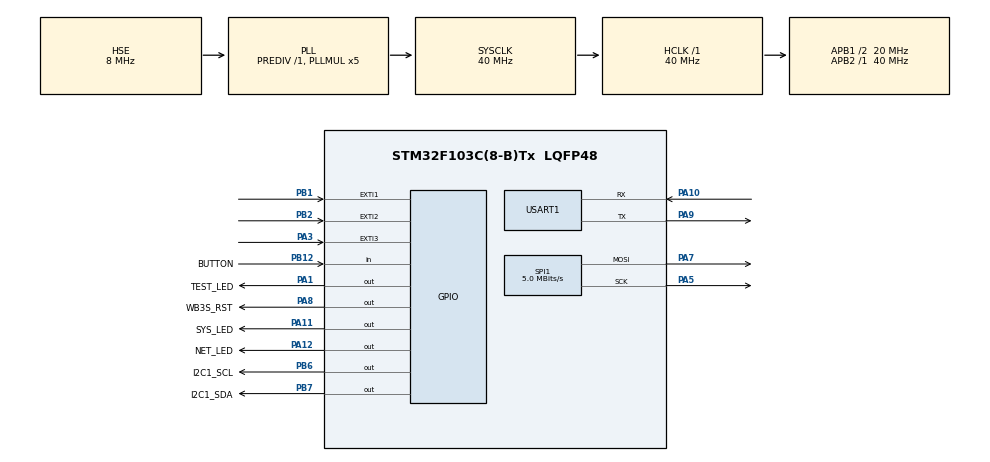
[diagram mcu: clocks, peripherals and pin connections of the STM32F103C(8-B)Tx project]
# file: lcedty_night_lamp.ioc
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Dma.Request0=SPI1_TX
Dma.SPI1_TX.0.Direction=DMA_MEMORY_TO_PERIPH
Dma.SPI1_TX.0.Instance=DMA1_Channel3
Dma.SPI1_TX.0.MemDataAlignment=DMA_MDATAALIGN_BYTE
Dma.SPI1_TX.0.MemInc=DMA_MINC_ENABLE
Dma.SPI1_TX.0.Mode=DMA_NORMAL
Dma.SPI1_TX.0.PeriphDataAlignment=DMA_PDATAALIGN_BYTE
Dma.SPI1_TX.0.PeriphInc=DMA_PINC_DISABLE
Dma.SPI1_TX.0.Priority=DMA_PRIORITY_LOW
FREERTOS.BinarySemaphores01=SHAKE,Dynamic,NULL
FREERTOS.Tasks01=defaultTask,0,128,StartDefaultTask,Default,NULL,Dynamic,NULL,NULL;WB3S,-3,128,StartTask_WB3S,Default,NULL,Dynamic,NULL,NULL;TH_Sensor,0,128,StartTask_TH_Sensor,Default,NULL,Dynamic,NULL,NULL;Key,0,128,StartTask_Key,Default,NULL,Dynamic,NULL,NULL;SHAKE_PROCESS,0,64,StartTask_SHAKE_PROCESS,Default,NULL,Dynamic,NULL,NULL
FREERTOS.configMINIMAL_STACK_SIZE=64
Mcu.Family=STM32F1
Mcu.Name=STM32F103C(8-B)Tx
Mcu.Package=LQFP48
NVIC.DMA1_Channel3_IRQn=true\:5\:0\:false\:false\:true\:true\:false\:true
NVIC.EXTI3_IRQn=true\:5\:0\:false\:false\:true\:true\:true\:true
NVIC.PriorityGroup=NVIC_PRIORITYGROUP_4
NVIC.TIM1_UP_IRQn=true\:0\:0\:false\:false\:true\:false\:false\:true
NVIC.TimeBase=TIM1_UP_IRQn
NVIC.TimeBaseIP=TIM1
NVIC.USART1_IRQn=true\:5\:0\:false\:false\:true\:true\:true\:true
PA1.GPIO_Label=TEST_LED
PA1.PinState=GPIO_PIN_SET
PA1.Signal=GPIO_Output
PA10.Mode=Asynchronous
PA10.Signal=USART1_RX
PA11.GPIO_Label=SYS_LED
PA11.PinState=GPIO_PIN_SET
PA11.Signal=GPIO_Output
PA12.GPIO_Label=NET_LED
PA12.PinState=GPIO_PIN_SET
PA12.Signal=GPIO_Output
PA13.Mode=Serial_Wire
PA13.Signal=SYS_JTMS-SWDIO
PA14.Mode=Serial_Wire
PA14.Signal=SYS_JTCK-SWCLK
PA3.Signal=GPXTI3
PA5.Mode=TX_Only_Simplex_Unidirect_Master
PA5.Signal=SPI1_SCK
PA7.Mode=TX_Only_Simplex_Unidirect_Master
PA7.Signal=SPI1_MOSI
PA8.GPIO_Label=WB3S_RST
PA8.Signal=GPIO_Output
PA9.Mode=Asynchronous
PA9.Signal=USART1_TX
PB1.Signal=GPXTI1
PB12.GPIO_Label=BUTTON
PB12.GPIO_PuPd=GPIO_PULLUP
PB12.Signal=GPIO_Input
PB2.Signal=GPXTI2
PB6.GPIO_Label=I2C1_SCL
PB6.Signal=GPIO_Output
PB7.GPIO_Label=I2C1_SDA
PB7.Signal=GPIO_Output
PD0-OSC_IN.Mode=HSE-External-Oscillator
PD0-OSC_IN.Signal=RCC_OSC_IN
PD1-OSC_OUT.Mode=HSE-External-Oscillator
PD1-OSC_OUT.Signal=RCC_OSC_OUT
ProjectManager.HeapSize=0x200
ProjectManager.StackSize=0x400
ProjectManager.TargetToolchain=MDK-ARM V5
RCC.AHBFreq_Value=40000000
RCC.APB1CLKDivider=RCC_HCLK_DIV2
RCC.APB1Freq_Value=20000000
RCC.APB1TimFreq_Value=40000000
RCC.APB2Freq_Value=40000000
RCC.APB2TimFreq_Value=40000000
RCC.HCLKFreq_Value=40000000
RCC.PLLMUL=RCC_PLL_MUL5
RCC.PLLSourceVirtual=RCC_PLLSOURCE_HSE
RCC.SYSCLKFreq_VALUE=40000000
RCC.SYSCLKSource=RCC_SYSCLKSOURCE_PLLCLK
RCC.USBFreq_Value=40000000
SPI1.BaudRatePrescaler=SPI_BAUDRATEPRESCALER_8
SPI1.CLKPhase=SPI_PHASE_2EDGE
SPI1.CLKPolarity=SPI_POLARITY_HIGH
SPI1.CalculateBaudRate=5.0 MBits/s
SPI1.Direction=SPI_DIRECTION_2LINES
SPI1.Mode=SPI_MODE_MASTER
SPI1.VirtualType=VM_MASTER
USART1.VirtualMode=VM_ASYNC
VP_FREERTOS_VS_CMSIS_V1.Mode=CMSIS_V1
VP_SYS_VS_tim1.Mode=TIM1
board=custom

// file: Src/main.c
/* USER CODE BEGIN Header */
/**
  ******************************************************************************
  * @file           : main.c
  * @brief          : Main program body
  ******************************************************************************
  * @attention
  *
  * <h2><center>&copy; Copyright (c) 2020 STMicroelectronics.
  * All rights reserved.</center></h2>
  *
  * This software component is licensed by ST under BSD 3-Clause license,
  * the "License"; You may not use this file except in compliance with the
  * License. You may obtain a copy of the License at:
  *                        opensource.org/licenses/BSD-3-Clause
  *
  ******************************************************************************
  */
/* USER CODE END Header */

#include "main.h"
#include "cmsis_os.h"
#include "dma.h"
#include "spi.h"
#include "usart.h"
#include "gpio.h"

/* USER CODE BEGIN Includes */
#include "wifi.h"
#include "ws2812.h"
#include "sht2x_i2c.h"
/* USER CODE END Includes */

/* USER CODE BEGIN PV */

extern osSemaphoreId SHAKEHandle;

uint8_t Switch_Led_Status = 0;//开关状态
int LED_V_Data,LED_S_Data,LED_H_Data;
uint8_t Wb3s_Wifi_Status = 0;//wifi状态

//===========UART===============
uint8_t String_Statr[] = "=====START=====\r\n";
uint8_t Rx_uart1_buff[32];
//uint8_t Tx_uart1_buff[10];
uint8_t Rx_uart2_buff[32];
//uint8_t Tx_uart2_buff[10];

/* USER CODE END PV */

void SystemClock_Config(void);
void MX_FREERTOS_Init(void);

/* USER CODE BEGIN 0 */
void HAL_UART_RxCpltCallback(UART_HandleTypeDef *huart)
{
	if(huart->Instance == USART1)
	{
		uart_receive_input(*Rx_uart1_buff);
		__HAL_UART_CLEAR_FLAG(&huart1,UART_FLAG_RXNE);
		HAL_UART_Receive_IT(&huart1,Rx_uart1_buff,1);
	}

//	if(huart->Instance == USART2)
//	{
//		HAL_UART_Transmit(&huart2,Rx_uart2_buff,1,1000);
//		HAL_UART_Receive_IT(&huart2,Rx_uart2_buff,1);
//	}
}

void HAL_GPIO_EXTI_Callback(uint16_t GPIO_Pin)
{
	if(GPIO_Pin == GPIO_PIN_3)
		osSemaphoreRelease(SHAKEHandle);
}
/* USER CODE END 0 */

int main(void)
{

  /* MCU Configuration--------------------------------------------------------*/

  /* Reset of all peripherals, Initializes the Flash interface and the Systick. */
  HAL_Init();

  /* Configure the system clock */
  SystemClock_Config();

  /* Initialize all configured peripherals */
  MX_GPIO_Init();
  MX_DMA_Init();
  MX_SPI1_Init();
  MX_USART1_UART_Init();
  /* USER CODE BEGIN 2 */
	HAL_UART_Receive_IT(&huart1,Rx_uart1_buff,1);
//	HAL_UART_Receive_IT(&huart2,Rx_uart2_buff,1);

	HAL_Delay(20);
	wifi_protocol_init();//初始化涂鸦WB3S
	i2c_CfgGpio();
	SHT2x_Init();

	Clear_Color();
	HAL_Delay(1);
	Clear_Color();

  /* USER CODE END 2 */

  /* Call init function for freertos objects (in freertos.c) */
  MX_FREERTOS_Init();
  /* Start scheduler */
  osKernelStart();

  /* We should never get here as control is now taken by the scheduler */
  /* Infinite loop */
  while (1)
  {

    /* USER CODE BEGIN 3 */
		wifi_uart_service();

  }
  /* USER CODE END 3 */
}

void SystemClock_Config(void)
{
  RCC_OscInitTypeDef RCC_OscInitStruct = {0};
  RCC_ClkInitTypeDef RCC_ClkInitStruct = {0};

  /** Initializes the CPU, AHB and APB busses clocks
  */
  RCC_OscInitStruct.OscillatorType = RCC_OSCILLATORTYPE_HSE;
  RCC_OscInitStruct.HSEState = RCC_HSE_ON;
  RCC_OscInitStruct.HSEPredivValue = RCC_HSE_PREDIV_DIV1;
  RCC_OscInitStruct.HSIState = RCC_HSI_ON;
  RCC_OscInitStruct.PLL.PLLState = RCC_PLL_ON;
  RCC_OscInitStruct.PLL.PLLSource = RCC_PLLSOURCE_HSE;
  RCC_OscInitStruct.PLL.PLLMUL = RCC_PLL_MUL5;
  if (HAL_RCC_OscConfig(&RCC_OscInitStruct) != HAL_OK)
  {
    Error_Handler();
  }
  /** Initializes the CPU, AHB and APB busses clocks
  */
  RCC_ClkInitStruct.ClockType = RCC_CLOCKTYPE_HCLK|RCC_CLOCKTYPE_SYSCLK
                              |RCC_CLOCKTYPE_PCLK1|RCC_CLOCKTYPE_PCLK2;
  RCC_ClkInitStruct.SYSCLKSource = RCC_SYSCLKSOURCE_PLLCLK;
  RCC_ClkInitStruct.AHBCLKDivider = RCC_SYSCLK_DIV1;
  RCC_ClkInitStruct.APB1CLKDivider = RCC_HCLK_DIV2;
  RCC_ClkInitStruct.APB2CLKDivider = RCC_HCLK_DIV1;

  if (HAL_RCC_ClockConfig(&RCC_ClkInitStruct, FLASH_LATENCY_1) != HAL_OK)
  {
    Error_Handler();
  }
}

 /**
  * @brief  Period elapsed callback in non blocking mode
  * @note   This function is called  when TIM1 interrupt took place, inside
  * HAL_TIM_IRQHandler(). It makes a direct call to HAL_IncTick() to increment
  * a global variable "uwTick" used as application time base.
  * @param  htim : TIM handle
  * @retval None
  */
void HAL_TIM_PeriodElapsedCallback(TIM_HandleTypeDef *htim)
{
  if (htim->Instance == TIM1) {
    HAL_IncTick();
  }
}

void Error_Handler(void)
{
}

/************************ (C) COPYRIGHT STMicroelectronics *****END OF FILE****/

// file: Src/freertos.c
/* USER CODE BEGIN Header */
/**
  ******************************************************************************
  * File Name          : freertos.c
  * Description        : Code for freertos applications
  ******************************************************************************
  * @attention
  *
  * <h2><center>&copy; Copyright (c) 2020 STMicroelectronics.
  * All rights reserved.</center></h2>
  *
  * This software component is licensed by ST under Ultimate Liberty license
  * SLA0044, the "License"; You may not use this file except in compliance with
  * the License. You may obtain a copy of the License at:
  *                             www.st.com/SLA0044
  *
  ******************************************************************************
  */
/* USER CODE END Header */

#include "FreeRTOS.h"
#include "task.h"
#include "main.h"
#include "cmsis_os.h"

/* USER CODE BEGIN Includes */
#include "wifi.h"
#include "ws2812.h"
#include "sht2x_i2c.h"
#include "key.h"
/* USER CODE END Includes */

/* USER CODE BEGIN Variables */

int16_t Test_T_Data,Test_H_Data;
extern uint8_t Switch_Led_Status;//main.c
extern uint8_t Wb3s_Wifi_Status;//wifi?? main.c
extern unsigned int LED_V_Data,LED_S_Data,LED_H_Data;
/* USER CODE END Variables */
osThreadId defaultTaskHandle;
osThreadId WB3SHandle;
osThreadId TH_SensorHandle;
osThreadId KeyHandle;
osThreadId SHAKE_PROCESSHandle;
osSemaphoreId SHAKEHandle;

void StartDefaultTask(void const * argument);
void StartTask_WB3S(void const * argument);
void StartTask_TH_Sensor(void const * argument);
void StartTask_Key(void const * argument);
void StartTask_SHAKE_PROCESS(void const * argument);

void MX_FREERTOS_Init(void); /* (MISRA C 2004 rule 8.1) */

/* GetIdleTaskMemory prototype (linked to static allocation support) */
void vApplicationGetIdleTaskMemory( StaticTask_t **ppxIdleTaskTCBBuffer, StackType_t **ppxIdleTaskStackBuffer, uint32_t *pulIdleTaskStackSize );

/* USER CODE BEGIN GET_IDLE_TASK_MEMORY */
static StaticTask_t xIdleTaskTCBBuffer;
static StackType_t xIdleStack[configMINIMAL_STACK_SIZE];

void vApplicationGetIdleTaskMemory( StaticTask_t **ppxIdleTaskTCBBuffer, StackType_t **ppxIdleTaskStackBuffer, uint32_t *pulIdleTaskStackSize )
{
  *ppxIdleTaskTCBBuffer = &xIdleTaskTCBBuffer;
  *ppxIdleTaskStackBuffer = &xIdleStack[0];
  *pulIdleTaskStackSize = configMINIMAL_STACK_SIZE;
  /* place for user code */
}
/* USER CODE END GET_IDLE_TASK_MEMORY */

void MX_FREERTOS_Init(void) {

  /* Create the semaphores(s) */
  /* definition and creation of SHAKE */
  osSemaphoreDef(SHAKE);
  SHAKEHandle = osSemaphoreCreate(osSemaphore(SHAKE), 1);

  /* Create the thread(s) */
  /* definition and creation of defaultTask */
  osThreadDef(defaultTask, StartDefaultTask, osPriorityNormal, 0, 128);
  defaultTaskHandle = osThreadCreate(osThread(defaultTask), NULL);

  /* definition and creation of WB3S */
  osThreadDef(WB3S, StartTask_WB3S, osPriorityIdle, 0, 128);
  WB3SHandle = osThreadCreate(osThread(WB3S), NULL);

  /* definition and creation of TH_Sensor */
  osThreadDef(TH_Sensor, StartTask_TH_Sensor, osPriorityNormal, 0, 128);
  TH_SensorHandle = osThreadCreate(osThread(TH_Sensor), NULL);

  /* definition and creation of Key */
  osThreadDef(Key, StartTask_Key, osPriorityNormal, 0, 128);
  KeyHandle = osThreadCreate(osThread(Key), NULL);

  /* definition and creation of SHAKE_PROCESS */
  osThreadDef(SHAKE_PROCESS, StartTask_SHAKE_PROCESS, osPriorityNormal, 0, 64);
  SHAKE_PROCESSHandle = osThreadCreate(osThread(SHAKE_PROCESS), NULL);

}

void StartDefaultTask(void const * argument)
{
  /* USER CODE BEGIN StartDefaultTask */
  /* Infinite loop */
	uint16_t Button_Hold_Timer = 0;
	uint8_t First_Start_flag = 1;
  for(;;)
  {
		if(First_Start_flag == 1)//上电长按按键3秒进入wifi重设状态
		{
			while(HAL_GPIO_ReadPin(BUTTON_GPIO_Port,BUTTON_Pin) == 0)
			{
				if(Button_Hold_Timer == 30)
					mcu_set_wifi_mode(SMART_CONFIG);
				if(Button_Hold_Timer > 30)
							HAL_GPIO_TogglePin(SYS_LED_GPIO_Port,SYS_LED_Pin);
				Button_Hold_Timer++;
				osDelay(100);
			}
			First_Start_flag = 0;
		}
		HAL_GPIO_TogglePin(SYS_LED_GPIO_Port,SYS_LED_Pin);
		osDelay(1000);
//    switch(Wb3s_Wifi_Status)
//		{
//				case 0:
//					HAL_GPIO_TogglePin(SYS_LED_GPIO_Port,SYS_LED_Pin);
//					osDelay(500);
//				break;
//
//        case 1:
//					HAL_GPIO_TogglePin(NET_LED_GPIO_Port,NET_LED_Pin);
//					osDelay(100);
//        break;
//
//        case 2:
//					HAL_GPIO_TogglePin(NET_LED_GPIO_Port,NET_LED_Pin);
//					osDelay(100);
//        break;
//
//        case 3:
//					HAL_GPIO_WritePin(NET_LED_GPIO_Port,NET_LED_Pin,GPIO_PIN_SET);
//					osDelay(100);
//        break;
//
//        case 4:
//					HAL_GPIO_WritePin(NET_LED_GPIO_Port,NET_LED_Pin,GPIO_PIN_SET);
//					osDelay(100);
//        break;
//
//        case 5:
//					HAL_GPIO_TogglePin(NET_LED_GPIO_Port,NET_LED_Pin);
//					osDelay(1000);
//        break;
//
//        case 6:
//					HAL_GPIO_TogglePin(NET_LED_GPIO_Port,NET_LED_Pin);
//					osDelay(5000);
//				break;
//
//        case 7:
//					HAL_GPIO_TogglePin(NET_LED_GPIO_Port,NET_LED_Pin);
//					osDelay(100);
//				break;
//			}
  }
  /* USER CODE END StartDefaultTask */
}

void StartTask_WB3S(void const * argument)
{
  /* USER CODE BEGIN StartTask_WB3S */
  /* Infinite loop */
  for(;;)
  {
		wifi_uart_service();
  }
  /* USER CODE END StartTask_WB3S */
}

void StartTask_TH_Sensor(void const * argument)
{
  /* USER CODE BEGIN StartTask_TH_Sensor */
  /* Infinite loop */
  for(;;)
  {

//		Test_T_Data = Get_SHT2x_Temp();
//		Test_H_Data = Get_SHT2x_Rh();
    mcu_dp_value_update(DPID_TEMPERATURE_DATA,Get_SHT2x_Temp()/10); //VALUE?????;
    mcu_dp_value_update(DPID_HUMIDITY_DATA,Get_SHT2x_Rh()/10); //VALUE?????;
    osDelay(120000);
  }
  /* USER CODE END StartTask_TH_Sensor */
}

void StartTask_Key(void const * argument)
{
  /* USER CODE BEGIN StartTask_Key */
  /* Infinite loop */
	unsigned char R_Data,G_Data,B_Data;
	char Adjust_Bright_Direction = 0;

  for(;;)
  {
		switch(Read_Key())
		{
			case 1:
					if(Switch_Led_Status == 1)
					{
							Switch_Led_Status = 0;
						  mcu_dp_bool_update(DPID_SWITCH_LED,0);//上传开关状态
							Clear_Color();
					}
					else
					{
						  Switch_Led_Status = 1;
						  mcu_dp_bool_update(DPID_SWITCH_LED,1);//上传开关状态
							Send_Color();
					}
					break;
			case 2:
				  if(Adjust_Bright_Direction == 1)
					{
						LED_V_Data += 1;
						if(LED_V_Data >= 100)
							Adjust_Bright_Direction = 0;
					}
					else
					{
						LED_V_Data -= 1;
						if(LED_V_Data <= 0)
							Adjust_Bright_Direction = 1;
					}
					HSVtoRGB(&R_Data,&G_Data,&B_Data,LED_H_Data,LED_S_Data,LED_V_Data);
					for(unsigned char i = 0; i < 8; i++)
					{
						Set_Color(R_Data,G_Data,B_Data,i);
					}
					Send_Color();
					break;
			default:
					break;
		}
    osDelay(50);
  }
  /* USER CODE END StartTask_Key */
}

void StartTask_SHAKE_PROCESS(void const * argument)
{
  /* USER CODE BEGIN StartTask_SHAKE_PROCESS */
  /* Infinite loop */
	unsigned char R_Data,G_Data,B_Data;
  for(;;)
  {
		osSemaphoreWait(SHAKEHandle,osWaitForever);
		LED_H_Data += 60;
		if(LED_H_Data >= 360)
		{
				LED_H_Data = 0;
				LED_S_Data = 0;
		}
		else
		{
			if(LED_S_Data == 0)
			{
				LED_H_Data = 0;
				LED_S_Data = 100;
			}
		}
		HSVtoRGB(&R_Data,&G_Data,&B_Data,LED_H_Data,LED_S_Data,LED_V_Data);
		for(unsigned char i = 0; i < 8; i++)
		{
			Set_Color(R_Data,G_Data,B_Data,i);
		}
		Send_Color();

  }
  /* USER CODE END StartTask_SHAKE_PROCESS */
}

/************************ (C) COPYRIGHT STMicroelectronics *****END OF FILE****/
